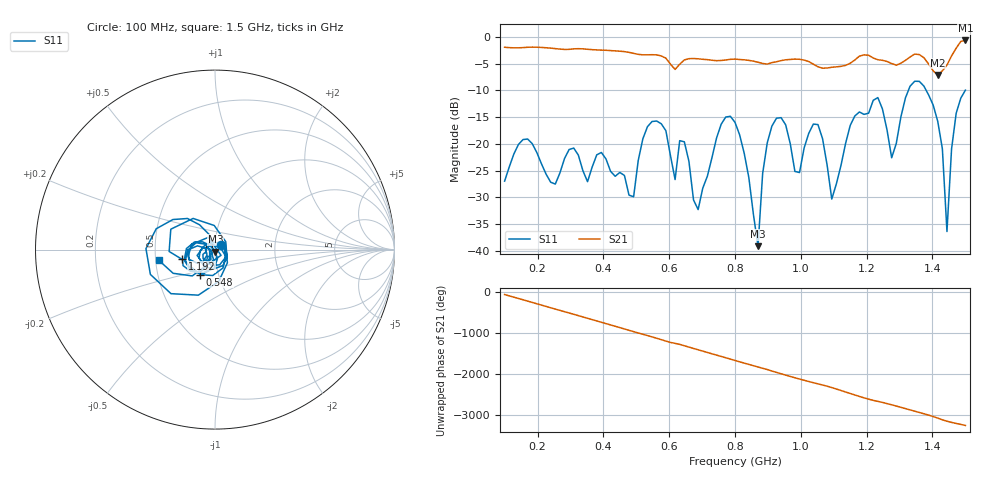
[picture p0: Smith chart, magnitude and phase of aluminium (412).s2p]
! NanoVNA-App
! Date: 2025-09-25 14:58:29
! Start: 100MHz Stop: 1,5GHz Points: 101
! S-Parameter data: F S11 S21 S12 S22
# Hz S RI R 50
!  Frequency  S11_Real  S11_Imag  S21_Real  S21_Imag  S12_Real  S12_Imag  S22_Real  S22_Imag
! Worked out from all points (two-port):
!   101 points, 100 MHz to 1.5 GHz, reference 50 ohm
!   highest |S21| = -0.65 dB at 1.5 GHz (marker M1); lowest = -7.1 dB at 1.416 GHz (marker M2)
!   |S21| within 3 dB of the highest: start of sweep to 579.6 MHz; 1.457 GHz to end of sweep (the widest 2 of 4)
!   lowest |S11| = -39.1 dB at 870 MHz (marker M3), VSWR 1.02, Z = 50.2 - j1.09 ohm
!   |S11| at or under -10 dB: start of sweep to 1.327 GHz; 1.381 GHz to 1.499 GHz (118.5 MHz wide, 8.22 % of centre)
!   S12 and S22 are empty: the file has one direction only
!   S11 on the Smith chart (normalised r, x): 100 MHz: 1.07, +0.06; 548 MHz: 0.82, -0.23; 1.192 GHz: 0.69, -0.07; 1.5 GHz: 0.52, -0.07
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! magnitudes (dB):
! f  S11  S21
! 100 MHz  -27.0  -1.9
! 156 MHz  -19.2  -2.0
! 338 MHz  -25.0  -2.2
! 492 MHz  -29.9  -3.1
! 548 MHz  -15.8  -3.3
! 576 MHz  -16.2  -3.5
! 646 MHz  -19.6  -4.3
! 688 MHz  -32.3  -4.1
! 800 MHz  -16.0  -4.1
! 870 MHz  -39.1  -4.7
! 912 MHz  -16.7  -4.8
! 996 MHz  -25.3  -4.2
! 1.038 GHz  -16.3  -5.1
! 1.094 GHz  -30.3  -5.7
! 1.192 GHz  -14.5  -3.3
! 1.234 GHz  -11.3  -4.3
! 1.276 GHz  -22.6  -5.0
! 1.346 GHz  -8.3  -3.2
! 1.416 GHz  -15.8  -7.1
! 1.444 GHz  -36.4  -5.3
! 1.472 GHz  -14.3  -2.1
! 1.5 GHz  -9.9  -0.6
